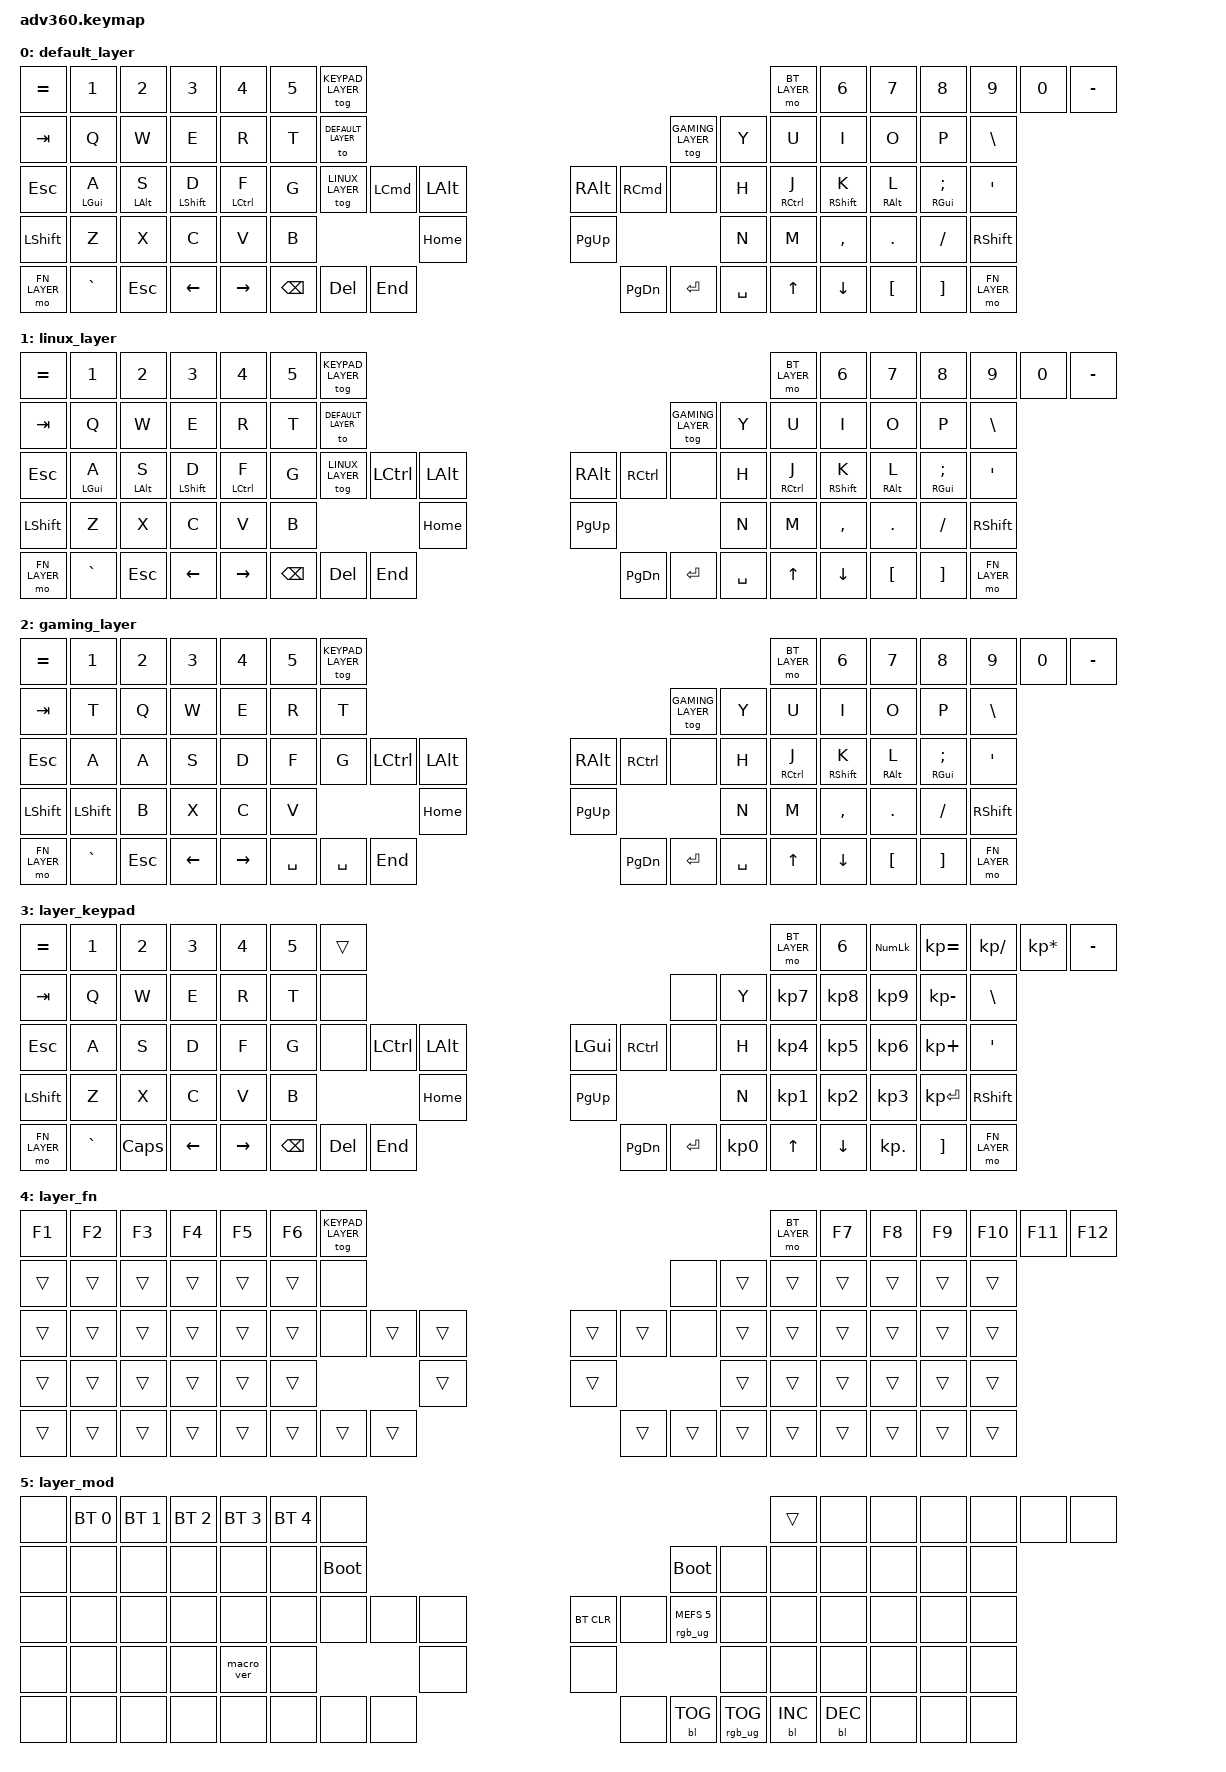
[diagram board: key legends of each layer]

/*
 * Copyright (c) 2020 The ZMK Contributors
 *
 * SPDX-License-Identifier: MIT
 */


/* THIS FILE WAS GENERATED!
 *
 * This file was generated automatically. You may or may not want to
 * edit it directly.
 */

#include <behaviors.dtsi>
#include <dt-bindings/zmk/keys.h>
#include <dt-bindings/zmk/bt.h>
#include <dt-bindings/zmk/rgb.h>
#include <dt-bindings/zmk/backlight.h>

// also the macos layer
#define DEFAULT_LAYER 0 
#define LINUX_LAYER 1
#define GAMING_LAYER 2
#define KEYPAD_LAYER 3
#define FN_LAYER 4
#define BT_LAYER 5

/ {
  behaviors {
    #include "macros.dtsi"
    #include "version.dtsi"

    hm: homerow_mods {
        compatible = "zmk,behavior-hold-tap";
        label = "HOMEROW_MODS";
        #binding-cells = <2>;
        tapping-term-ms = <200>;
        quick_tap_ms = <175>;
        flavor = "tap-preferred";
        bindings = <&kp>, <&kp>;
    };
  };

    keymap {
        compatible = "zmk,keymap";


        // this is the layer used on macos
        // this is layer 0
        default_layer {
            bindings = <
 &kp EQUAL     &kp N1   &kp N2    &kp N3     &kp N4  &kp N5              &tog KEYPAD_LAYER                                                                    &mo BT_LAYER  &kp N6  &kp N7     &kp N8    &kp N9    &kp N0  &kp MINUS
   &kp TAB      &kp Q    &kp W     &kp E      &kp R   &kp T               &to DEFAULT_LAYER                                                                    &tog GAMING_LAYER   &kp Y   &kp U      &kp I     &kp O     &kp P   &kp BSLH
 &kp ESC &hm LGUI A &hm LALT S &hm LSHIFT D &hm LCTRL F  &kp G               &tog LINUX_LAYER  &kp LCMD  &kp LALT                  &kp RIGHT_ALT   &kp RCMD      &none   &kp H   &hm RCTRL J      &hm RSHIFT K     &hm RALT L  &hm RGUI SEMI    &kp SQT
 &kp LSHFT      &kp Z    &kp X     &kp C      &kp V   &kp B                                &kp HOME                      &kp PG_UP                         &kp N   &kp M  &kp COMMA   &kp DOT  &kp FSLH  &kp RSHFT
     &mo FN_LAYER  &kp GRAVE  &kp ESC  &kp LEFT  &kp RIGHT                    &kp BSPC   &kp DEL   &kp END                      &kp PG_DN  &kp ENTER  &kp SPACE          &kp UP   &kp DOWN  &kp LBKT  &kp RBKT      &mo FN_LAYER
            >;
        };

        // basically same thing as macos layer, but swap the thumb cluster "CMD" key into "CTRL" so many shortcuts just work better
        // this is layer 4
        linux_layer {
            bindings = <
 &kp EQUAL     &kp N1   &kp N2    &kp N3     &kp N4  &kp N5              &tog KEYPAD_LAYER                                                                    &mo BT_LAYER  &kp N6  &kp N7     &kp N8    &kp N9    &kp N0  &kp MINUS
   &kp TAB      &kp Q    &kp W     &kp E      &kp R   &kp T               &to DEFAULT_LAYER                                                                    &tog GAMING_LAYER &kp Y   &kp U      &kp I     &kp O     &kp P   &kp BSLH
 &kp ESC &hm LGUI A &hm LALT S &hm LSHIFT D &hm LCTRL F  &kp G               &tog LINUX_LAYER  &kp LCTRL  &kp LALT                  &kp RIGHT_ALT   &kp RCTRL      &none   &kp H   &hm RCTRL J      &hm RSHIFT K     &hm RALT L  &hm RGUI SEMI    &kp SQT
 &kp LSHFT      &kp Z    &kp X     &kp C      &kp V   &kp B                                &kp HOME                      &kp PG_UP                         &kp N   &kp M  &kp COMMA   &kp DOT  &kp FSLH  &kp RSHFT
     &mo FN_LAYER  &kp GRAVE  &kp ESC  &kp LEFT  &kp RIGHT                    &kp BSPC   &kp DEL   &kp END                      &kp PG_DN  &kp ENTER  &kp SPACE          &kp UP   &kp DOWN  &kp LBKT  &kp RBKT      &mo FN_LAYER
            >;
        };

        // basically same thing as linux layer but we disable home-row mods for the left side of the keyboard
        // this is layer 5
        // z is l-shift
        // wasd have shifted right to esdf
        gaming_layer {
            bindings = <
 &kp EQUAL     &kp N1   &kp N2    &kp N3     &kp N4  &kp N5              &tog KEYPAD_LAYER                                                                    &mo BT_LAYER  &kp N6  &kp N7     &kp N8    &kp N9    &kp N0  &kp MINUS
   &kp TAB      &kp T    &kp Q     &kp W      &kp E   &kp R                &kp T                                                                    &tog GAMING_LAYER   &kp Y   &kp U      &kp I     &kp O     &kp P   &kp BSLH
 &kp ESC &kp A &kp A &kp S &kp D &kp F                                 &kp G &kp LCTRL  &kp LALT                  &kp RIGHT_ALT   &kp RCTRL      &none   &kp H   &hm RCTRL J      &hm RSHIFT K     &hm RALT L  &hm RGUI SEMI    &kp SQT
 &kp LSHFT      &kp LSHIFT    &kp B     &kp X      &kp C   &kp V                                &kp HOME                      &kp PG_UP                         &kp N   &kp M  &kp COMMA   &kp DOT  &kp FSLH  &kp RSHFT
     &mo FN_LAYER  &kp GRAVE  &kp ESC  &kp LEFT  &kp RIGHT                    &kp SPACE &kp SPACE &kp END                      &kp PG_DN  &kp ENTER  &kp SPACE          &kp UP   &kp DOWN  &kp LBKT  &kp RBKT      &mo FN_LAYER
            >;
        };


        // basically turns right side of keyboard into num pad
        // default layer provided by Kinesis. Toggled by pressing the Kp key
        layer_keypad {
            bindings = <
 &kp EQUAL     &kp N1    &kp N2    &kp N3     &kp N4  &kp N5              &trans                                                                 &mo BT_LAYER  &kp N6  &kp KP_NUM  &kp KP_EQUAL  &kp KP_DIVIDE  &kp KP_MULTIPLY  &kp MINUS
   &kp TAB      &kp Q     &kp W     &kp E      &kp R   &kp T               &none                                                                 &none   &kp Y   &kp KP_N7     &kp KP_N8      &kp KP_N9     &kp KP_MINUS   &kp BSLH
   &kp ESC      &kp A     &kp S     &kp D      &kp F   &kp G               &none  &kp LCTRL  &kp LALT                   &kp LGUI  &kp RCTRL      &none   &kp H   &kp KP_N4     &kp KP_N5      &kp KP_N6      &kp KP_PLUS    &kp SQT
 &kp LSHFT      &kp Z     &kp X     &kp C      &kp V   &kp B                                 &kp HOME                  &kp PG_UP                         &kp N   &kp KP_N1     &kp KP_N2      &kp KP_N3     &kp KP_ENTER  &kp RSHFT
     &mo FN_LAYER  &kp GRAVE  &kp CAPS  &kp LEFT  &kp RIGHT                    &kp BSPC    &kp DEL   &kp END                  &kp PG_DN  &kp ENTER  &kp KP_N0              &kp UP      &kp DOWN     &kp KP_DOT         &kp RBKT      &mo FN_LAYER
            >;
        };

        // This is layer 2. Activated by holding a Fn key. Allows you to press F1-F12
        // Default layer of kinesis
        layer_fn {
            bindings = <
 &kp F1  &kp F2  &kp F3  &kp F4  &kp F5  &kp F6            &tog KEYPAD_LAYER                                                   &mo BT_LAYER  &kp F7  &kp F8  &kp F9  &kp F10  &kp F11  &kp F12
 &trans  &trans  &trans  &trans  &trans  &trans             &none                                                   &none  &trans  &trans  &trans   &trans   &trans   &trans
 &trans  &trans  &trans  &trans  &trans  &trans             &none  &trans  &trans                  &trans  &trans   &none  &trans  &trans  &trans   &trans   &trans   &trans
 &trans  &trans  &trans  &trans  &trans  &trans                            &trans                  &trans                  &trans  &trans  &trans   &trans   &trans   &trans
 &trans  &trans  &trans  &trans  &trans                    &trans  &trans  &trans                  &trans  &trans  &trans          &trans  &trans   &trans   &trans   &trans
            >;
        };

        // Basically BT layer. We can use this in feature as another way to switch layers but unecessary.
        // Default layer from kinesis
        // layer 3
        layer_mod {
            bindings = <
  &none  &bt BT_SEL 0  &bt BT_SEL 1  &bt BT_SEL 2  &bt BT_SEL 3  &bt BT_SEL 4                  &none                                                                          &trans   &none       &none       &none   &none   &none   &none
  &none         &none         &none         &none         &none         &none            &bootloader                                                                     &bootloader   &none       &none       &none   &none   &none   &none
  &none         &none         &none         &none         &none         &none                  &none   &none   &none                  &bt BT_CLR       &none  &rgb_ug RGB_MEFS_CMD 5   &none       &none       &none   &none   &none   &none
  &none         &none         &none         &none    &macro_ver         &none                                  &none                       &none                                       &none       &none       &none   &none   &none   &none
  &none         &none         &none         &none         &none                                &none   &none   &none                       &none  &bl BL_TOG         &rgb_ug RGB_TOG          &bl BL_INC  &bl BL_DEC   &none   &none   &none
            >;
        };

    };
};
